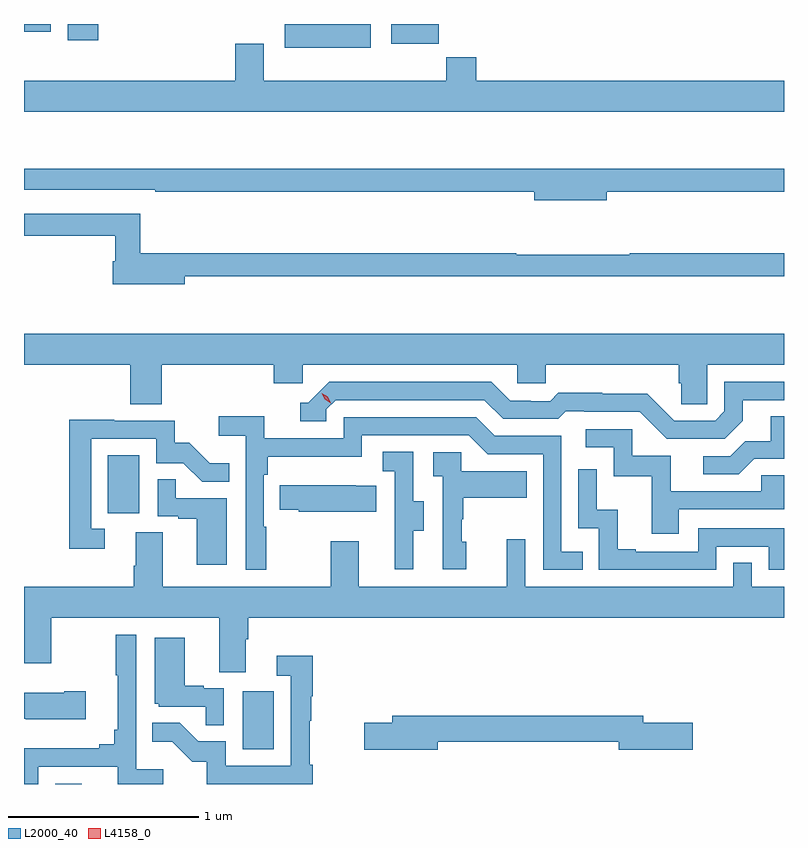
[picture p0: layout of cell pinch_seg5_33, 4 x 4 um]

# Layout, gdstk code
import gdstk
lib = gdstk.Library(unit=1e-6, precision=1e-09)
def R(c, l, rs):  # rectangles x0, y0, x1, y1
    for r in rs: c.add(gdstk.rectangle(r[:2], r[2:], *l))
def P(c, l, *ps):  # polygons
    for p in ps: c.add(gdstk.Polygon(p, *l))
L2000_40 = (2000, 40)
L4158_0 = (4158, 0)

pinch_seg5_33 = lib.new_cell('pinch_seg5_33')
R(pinch_seg5_33, L2000_40, [(1104.99,898.51,1105.129,898.512), (1105.976,898.692,1106.14,898.999), (1105.268,899.934,1105.432,900.241), (1106.198,902.384,1106.65,902.51), (1106.759,902.406,1107.008,902.51), (1105.055,902.424,1105.216,902.51), (1104.826,902.47,1104.966,902.51)])
P(pinch_seg5_33, L2000_40, [(1108.826,902.212),(1107.206,902.212),(1107.206,902.336),(1107.049,902.336),(1107.049,902.212),(1106.089,902.212),(1106.089,902.407),(1105.937,902.407),(1105.937,902.212),(1104.826,902.212),(1104.826,902.048),(1108.826,902.048)],
  [(1107.892,901.626),(1108.826,901.626),(1108.826,901.747),(1104.826,901.747),(1104.826,901.638),(1105.516,901.638),(1105.516,901.626),(1107.512,901.626),(1107.512,901.583),(1107.892,901.583)],
  [(1105.672,901.182),(1108.826,901.182),(1108.826,901.303),(1108.014,901.303),(1108.014,901.295),(1107.416,901.295),(1107.416,901.303),(1105.439,901.303),(1105.439,901.512),(1104.826,901.512),(1104.826,901.396),(1105.307,901.396),(1105.307,901.261),(1105.292,901.261),(1105.292,901.139),(1105.672,901.139)],
  [(1105.55,900.716),(1106.141,900.716),(1106.141,900.618),(1106.292,900.618),(1106.292,900.716),(1107.423,900.716),(1107.423,900.618),(1107.573,900.618),(1107.573,900.716),(1108.271,900.716),(1108.271,900.618),(1108.285,900.618),(1108.285,900.508),(1108.422,900.508),(1108.422,900.716),(1108.826,900.716),(1108.826,900.88),(1104.826,900.88),(1104.826,900.716),(1105.385,900.716),(1105.385,900.508),(1105.55,900.508)],
  [(1108.609,900.421),(1108.609,900.531),(1108.826,900.531),(1108.826,900.627),(1108.512,900.627),(1108.512,900.471),(1108.464,900.423),(1108.248,900.423),(1108.106,900.565),(1107.87,900.565),(1107.87,900.568),(1107.637,900.568),(1107.595,900.525),(1107.492,900.525),(1107.492,900.528),(1107.385,900.528),(1107.286,900.627),(1106.433,900.627),(1106.322,900.516),(1106.279,900.516),(1106.279,900.42),(1106.418,900.42),(1106.418,900.483),(1106.466,900.531),(1107.249,900.531),(1107.348,900.432),(1107.637,900.432),(1107.676,900.471),(1107.775,900.471),(1107.775,900.468),(1108.068,900.468),(1108.209,900.327),(1108.515,900.327)],
  [(1106.101,899.864),(1106.088,899.864),(1106.088,900.137),(1106.108,900.137),(1106.108,900.233),(1106.604,900.233),(1106.604,900.345),(1107.168,900.345),(1107.267,900.246),(1107.558,900.246),(1107.558,899.637),(1107.767,899.637),(1107.767,899.733),(1107.654,899.733),(1107.654,900.342),(1107.304,900.342),(1107.205,900.441),(1106.508,900.441),(1106.508,900.33),(1106.09,900.33),(1106.09,900.446),(1105.851,900.446),(1105.851,900.344),(1105.992,900.344),(1105.992,899.637),(1106.101,899.637)],
  [(1108.669,900.222),(1108.826,900.222),(1108.826,900.446),(1108.757,900.446),(1108.757,900.314),(1108.622,900.314),(1108.542,900.234),(1108.401,900.234),(1108.401,900.141),(1108.588,900.141)],
  [(1105.252,899.853),(1105.179,899.853),(1105.179,900.327),(1105.521,900.327),(1105.521,900.198),(1105.665,900.198),(1105.763,900.1),(1105.907,900.1),(1105.907,900.199),(1105.803,900.199),(1105.696,900.306),(1105.62,900.306),(1105.62,900.423),(1105.301,900.423),(1105.301,900.428),(1105.063,900.428),(1105.063,899.748),(1105.252,899.748)],
  [(1108.273,899.955),(1108.826,899.955),(1108.826,900.135),(1108.705,900.135),(1108.705,900.051),(1108.231,900.051),(1108.231,900.237),(1108.026,900.237),(1108.026,900.378),(1107.783,900.378),(1107.783,900.282),(1107.93,900.282),(1107.93,900.129),(1108.129,900.129),(1108.129,899.826),(1108.273,899.826)],
  [(1106.875,899.842),(1106.929,899.842),(1106.929,899.997),(1106.874,899.997),(1106.874,900.26),(1106.715,900.26),(1106.715,900.157),(1106.778,900.157),(1106.778,899.853),(1106.777,899.853),(1106.777,899.64),(1106.875,899.64)],
  [(1107.154,899.784),(1107.129,899.784),(1107.129,899.903),(1107.139,899.903),(1107.139,900.017),(1107.473,900.017),(1107.473,900.157),(1107.126,900.157),(1107.126,900.255),(1106.979,900.255),(1106.979,900.131),(1107.03,900.131),(1107.03,899.64),(1107.154,899.64)],
  [(1108.47,899.76),(1108.746,899.76),(1108.746,899.637),(1108.826,899.637),(1108.826,899.856),(1108.374,899.856),(1108.374,899.733),(1108.045,899.733),(1108.045,899.746),(1107.95,899.746),(1107.95,899.954),(1107.84,899.954),(1107.84,900.166),(1107.744,900.166),(1107.744,899.856),(1107.852,899.856),(1107.852,899.637),(1108.47,899.637)],
  [(1105.894,900.015),(1105.625,900.015),(1105.625,900.113),(1105.53,900.113),(1105.53,899.919),(1105.637,899.919),(1105.637,899.907),(1105.736,899.907),(1105.736,899.664),(1105.894,899.664)],
  [(1106.681,900.079),(1106.573,900.079),(1106.573,900.082),(1106.173,900.082),(1106.173,899.953),(1106.271,899.953),(1106.271,899.942),(1106.681,899.942)],
  [(1108.826,899.548),(1108.656,899.548),(1108.656,899.675),(1108.56,899.675),(1108.56,899.548),(1107.465,899.548),(1107.465,899.797),(1107.368,899.797),(1107.368,899.548),(1106.587,899.548),(1106.587,899.788),(1106.44,899.788),(1106.44,899.548),(1105.555,899.548),(1105.555,899.834),(1105.415,899.834),(1105.415,899.66),(1105.403,899.66),(1105.403,899.548),(1104.826,899.548),(1104.826,899.145),(1104.969,899.145),(1104.969,899.384),(1105.853,899.384),(1105.853,899.098),(1105.993,899.098),(1105.993,899.272),(1106.006,899.272),(1106.006,899.384),(1108.826,899.384)],
  [(1104.9,898.602),(1105.319,898.602),(1105.319,898.51),(1105.558,898.51),(1105.558,898.588),(1105.416,898.588),(1105.416,899.296),(1105.308,899.296),(1105.308,899.083),(1105.319,899.083),(1105.319,898.795),(1105.3,898.795),(1105.3,898.718),(1105.223,898.718),(1105.223,898.699),(1104.826,898.699),(1104.826,898.51),(1104.9,898.51)],
  [(1105.878,899.013),(1105.772,899.013),(1105.772,899.026),(1105.672,899.026),(1105.672,899.281),(1105.514,899.281),(1105.514,898.932),(1105.536,898.932),(1105.536,898.917),(1105.783,898.917),(1105.783,898.819),(1105.878,898.819)],
  [(1106.345,898.612),(1106.33,898.612),(1106.33,898.842),(1106.338,898.842),(1106.338,898.972),(1106.345,898.972),(1106.345,899.185),(1106.157,899.185),(1106.157,899.079),(1106.229,899.079),(1106.229,898.605),(1105.887,898.605),(1105.887,898.734),(1105.743,898.734),(1105.645,898.832),(1105.501,898.832),(1105.501,898.733),(1105.605,898.733),(1105.712,898.626),(1105.789,898.626),(1105.789,898.51),(1106.345,898.51)],
  [(1105.15,898.998),(1105.037,898.998),(1105.037,898.99),(1104.826,898.99),(1104.826,898.853),(1104.835,898.853),(1104.835,898.85),(1105.15,898.85)],
  [(1107.004,898.732),(1107.956,898.732),(1107.956,898.69),(1108.345,898.69),(1108.345,898.832),(1108.084,898.832),(1108.084,898.868),(1106.765,898.868),(1106.765,898.832),(1106.616,898.832),(1106.616,898.69),(1107.004,898.69)])
P(pinch_seg5_33, L4158_0, [(1106.44,900.515),(1106.409,900.534),(1106.392,900.567),(1106.392,900.567),(1106.392,900.567),(1106.424,900.548),(1106.44,900.515),(1106.44,900.515)])

lib.write_gds('pinch_seg5_33.gds')
